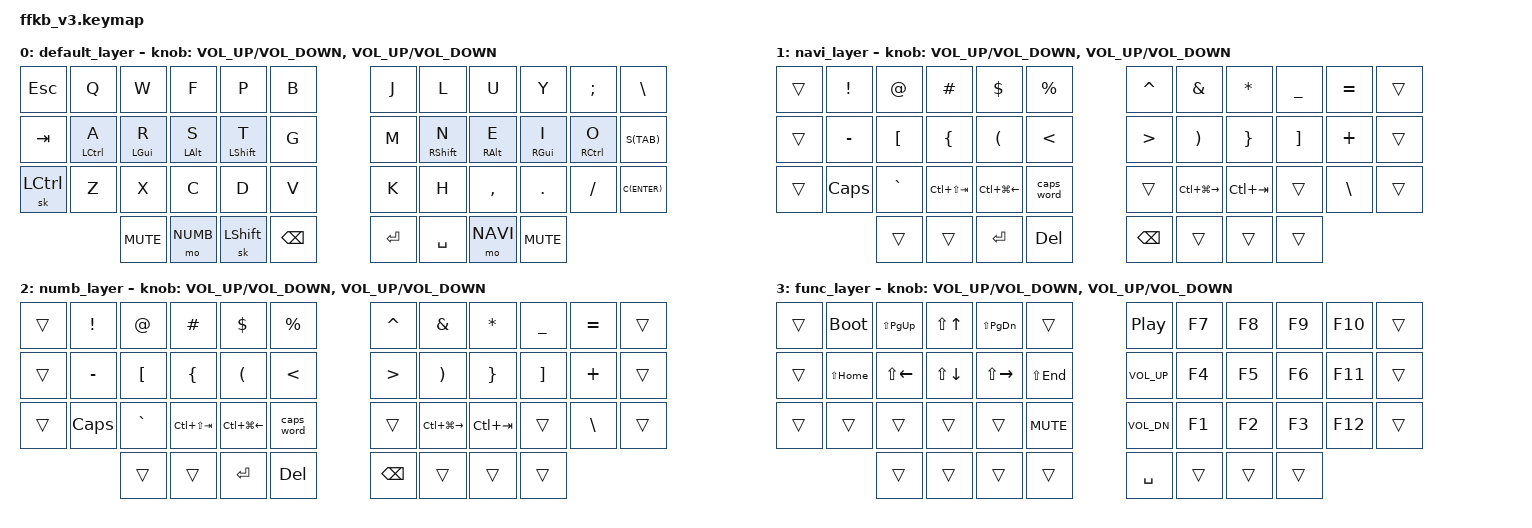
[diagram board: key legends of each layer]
/*
 * Copyright (c) 2020 The ZMK Contributors
 *
 * SPDX-License-Identifier: MIT
 */

 #include <behaviors.dtsi>
 #include <dt-bindings/zmk/keys.h>
 #include <dt-bindings/zmk/bt.h>
 #include <dt-bindings/zmk/ext_power.h>
 #include <dt-bindings/zmk/outputs.h>
 #include <dt-bindings/zmk/mouse.h>
 #include <dt-bindings/zmk/rgb.h>
 #include <behaviors/mouse_keys.dtsi>
 
#define BASE 0
#define NAVI 1
#define NUMB 2
#define FUNC 3
 
&caps_word {
    continue-list = <UNDERSCORE MINUS>;
};

/ {
    combos {
        compatible = "zmk,combos";
        combo_undo {
            timeout-ms = <50>;
            key-positions = <25 26>;
            bindings = <&kp LC(Z)>;
        };
    };
};

//     _______    _______    _______    _______    _______    _______            _______    _______    _______    _______    _______    _______
//     _______    _______    _______    _______    _______    _______            _______    _______    _______    _______    _______    _______
//     _______    _______    _______    _______    _______    _______            _______    _______    _______    _______    _______    _______
//                           _______    _______    _______    _______            _______    _______    _______    _______

/ {

sensors {
    compatible = "zmk,keymap-sensors";
    sensors = <&encoder_1 &encoder_2>;
    triggers-per-rotation = <20>;
};

    behaviors {
        hm: homerow_mods {
            compatible = "zmk,behavior-hold-tap";
            #binding-cells = <2>;
            tapping-term-ms = <200>;
            flavor = "tap-preferred";
            bindings = <&kp>, <&kp>;
        };
        hs: homerow_shift {
            compatible = "zmk,behavior-hold-tap";
            #binding-cells = <2>;
            tapping-term-ms = <120>;
            flavor = "balanced";
            bindings = <&kp>, <&kp>;
        };
    csemi: comma_semicolon {
        compatible = "zmk,behavior-mod-morph";
        #binding-cells = <0>;
        bindings = <&kp COMMA>, <&kp SEMI>;
        mods = <(MOD_LSFT|MOD_RSFT)>;
    };
    dcoln: dot_colon {
        compatible = "zmk,behavior-mod-morph";
        #binding-cells = <0>;
        bindings = <&kp DOT>, <&kp SEMI>;
        mods = <(MOD_LSFT|MOD_RSFT)>;
        keep-mods = <(MOD_RSFT)>;
    };
    };

    keymap {
        compatible = "zmk,keymap";

        default_layer {
        sensor-bindings = <&inc_dec_kp C_VOLUME_UP C_VOLUME_DOWN &inc_dec_kp C_VOLUME_UP C_VOLUME_DOWN>;

        bindings = <
            &kp ESC      &kp Q        &kp W      &kp F        &kp P        &kp B                    &kp J        &kp L        &kp U        &kp Y        &kp SEMI     &kp BSLH
            &kp TAB      &hm LCTL A   &hm LGUI R &hm LALT S   &hs LSHIFT T &kp G                    &kp M        &hs RSHIFT N &hm RALT E   &hm RGUI I   &hm RCTL O   &kp S(TAB)
            &sk LCTL     &kp Z        &kp X      &kp C        &kp D        &kp V                    &kp K        &kp H        &kp COMMA    &kp DOT      &kp FSLH     &kp C(ENTER)
                                      &kp C_MUTE &mo NUMB     &sk LSHIFT   &kp BSPC                 &kp ENTER    &kp SPACE    &mo NAVI     &kp C_MUTE
        >;
        };

        navi_layer {
        sensor-bindings = <&inc_dec_kp C_VOLUME_UP C_VOLUME_DOWN &inc_dec_kp C_VOLUME_UP C_VOLUME_DOWN>;

            bindings = <
            &trans     &kp EXCL     &kp AT       &kp HASH        &kp DLLR         &kp PRCNT                                   &kp CARET     &kp AMPS          &kp ASTRK     &kp UNDER   &kp EQUAL   &trans
            &trans     &kp MINUS    &kp LBKT     &kp LBRC        &kp LPAR         &kp LT                                      &kp GT        &kp RPAR          &kp RBRC      &kp RBKT    &kp PLUS    &trans
            &trans     &kp CAPS     &kp GRAVE    &kp LC(LS(TAB)) &kp LC(LG(LEFT)) &caps_word                                  &trans        &kp LC(LG(RIGHT)) &kp LC(TAB)   &trans      &kp BSLH    &trans
                                                    &trans          &trans           &kp RET       &kp DEL        &kp BSPC       &trans        &trans            &trans
            >;
        };

        numb_layer {
        sensor-bindings = <&inc_dec_kp C_VOLUME_UP C_VOLUME_DOWN &inc_dec_kp C_VOLUME_UP C_VOLUME_DOWN>;

        bindings = <
            &trans     &kp EXCL     &kp AT       &kp HASH        &kp DLLR         &kp PRCNT                                   &kp CARET     &kp AMPS          &kp ASTRK     &kp UNDER   &kp EQUAL   &trans
            &trans     &kp MINUS    &kp LBKT     &kp LBRC        &kp LPAR         &kp LT                                      &kp GT        &kp RPAR          &kp RBRC      &kp RBKT    &kp PLUS    &trans
            &trans     &kp CAPS     &kp GRAVE    &kp LC(LS(TAB)) &kp LC(LG(LEFT)) &caps_word                                  &trans        &kp LC(LG(RIGHT)) &kp LC(TAB)   &trans      &kp BSLH    &trans
                                                    &trans          &trans           &kp RET       &kp DEL        &kp BSPC       &trans        &trans            &trans
        >;
        };

        func_layer {
        sensor-bindings = <&inc_dec_kp C_VOLUME_UP C_VOLUME_DOWN &inc_dec_kp C_VOLUME_UP C_VOLUME_DOWN>;

        bindings = <
            &trans     &bootloader  &kp LS(PG_UP) &kp LS(UP)   &kp LS(PG_DN) &trans                                      &kp C_PLAY_PAUSE &kp F7       &kp F8        &kp F9      &kp F10     &trans
            &trans     &kp LS(HOME) &kp LS(LEFT)  &kp LS(DOWN) &kp LS(RIGHT) &kp LS(END)                                 &kp K_VOL_UP     &kp F4       &kp F5        &kp F6      &kp F11     &trans
            &trans     &trans       &trans        &trans       &trans        &kp C_MUTE                                  &kp K_VOL_DN     &kp F1       &kp F2        &kp F3      &kp F12     &trans
                                                    &trans       &trans        &trans        &trans          &kp SPACE     &trans           &trans       &trans
        >;
        };
    };
};


